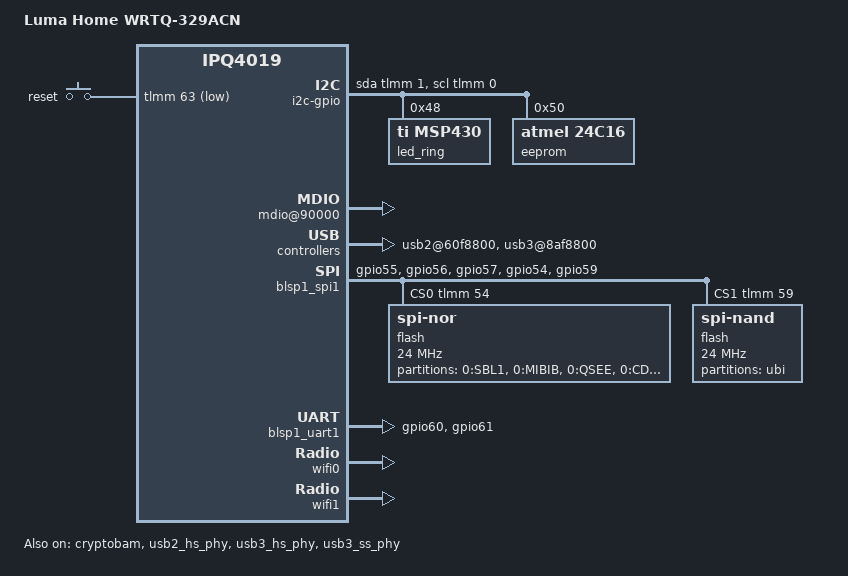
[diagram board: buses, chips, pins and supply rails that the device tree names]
// SPDX-License-Identifier: GPL-2.0-or-later OR MIT

#include "qcom-ipq4019.dtsi"
#include <dt-bindings/gpio/gpio.h>
#include <dt-bindings/input/input.h>
#include <dt-bindings/soc/qcom,tcsr.h>

/ {
	model = "Luma Home WRTQ-329ACN";
	compatible = "luma,wrtq-329acn";

	aliases {
		ethernet0 = &gmac1;
		ethernet1 = &gmac0;
	};

	i2c-gpio {
		compatible = "i2c-gpio";
		sda-gpios = <&tlmm 1 (GPIO_ACTIVE_HIGH|GPIO_OPEN_DRAIN)>;
		scl-gpios = <&tlmm 0 (GPIO_ACTIVE_HIGH|GPIO_OPEN_DRAIN)>;
		#address-cells = <1>;
		#size-cells = <0>;

		/* No driver exists */
		led_ring@48 {
			compatible = "ti,msp430";
			reg = <0x48>;
		};

		eeprom@50 {
			compatible = "atmel,24c16";
			reg = <0x50>;
			pagesize = <16>;
			read-only;
		};
	};

	keys {
		compatible = "gpio-keys";

		reset {
			label = "reset";
			gpios = <&tlmm 63 GPIO_ACTIVE_LOW>;
			linux,code = <KEY_RESTART>;
		};
	};

	soc {
		rng@22000 {
			status = "okay";
		};

		mdio@90000 {
			status = "okay";

			/delete-node/ ethernet-phy@0;
			/delete-node/ ethernet-phy@1;
			/delete-node/ ethernet-phy@3;
		};

		ess-psgmii@98000 {
			status = "okay";
		};

		tcsr@1949000 {
			compatible = "qcom,tcsr";
			reg = <0x1949000 0x100>;
			qcom,wifi_glb_cfg = <TCSR_WIFI_GLB_CFG>;
		};

		tcsr@194b000 {
			compatible = "qcom,tcsr";
			reg = <0x194b000 0x100>;
			qcom,usb-hsphy-mode-select = <TCSR_USB_HSPHY_HOST_MODE>;
		};

		ess_tcsr@1953000 {
			compatible = "qcom,tcsr";
			reg = <0x1953000 0x1000>;
			qcom,ess-interface-select = <TCSR_ESS_PSGMII>;
		};

		tcsr@1957000 {
			compatible = "qcom,tcsr";
			reg = <0x1957000 0x100>;
			qcom,wifi_noc_memtype_m0_m2 = <TCSR_WIFI_NOC_MEMTYPE_M0_M2>;
		};

		usb2@60f8800 {
			status = "okay";
		};

		usb3@8af8800 {
			status = "okay";
		};

		crypto@8e3a000 {
			status = "okay";
		};

		watchdog@b017000 {
			status = "okay";
		};

		ess-switch@c000000 {
			status = "okay";

			switch_lan_bmp = <0x1e>;
			switch_wan_bmp = <0x20>;
		};

		edma@c080000 {
			status = "okay";
		};
	};
};

&blsp_dma {
	status = "okay";
};


&blsp1_spi1 {
	status = "okay";

	cs-gpios = <&tlmm 54 GPIO_ACTIVE_HIGH>,
		   <&tlmm 59 GPIO_ACTIVE_HIGH>;
	pinctrl-0 = <&spi0_pins>;
	pinctrl-names = "default";

	flash@0 {
		compatible = "jedec,spi-nor";
		reg = <0>;
		spi-max-frequency = <24000000>;

		partitions {
			compatible = "fixed-partitions";
			#address-cells = <1>;
			#size-cells = <1>;

			partition@0 {
				label = "0:SBL1";
				reg = <0x000000 0x040000>;
				read-only;
			};

			partition@40000 {
				label = "0:MIBIB";
				reg = <0x040000 0x020000>;
				read-only;
			};

			partition@60000 {
				label = "0:QSEE";
				reg = <0x060000 0x060000>;
				read-only;
			};

			partition@c0000 {
				label = "0:CDT";
				reg = <0x0c0000 0x010000>;
				read-only;
			};

			partition@d0000 {
				label = "0:DDRPARAMS";
				reg = <0x0d0000 0x010000>;
				read-only;
			};

			partition@e0000 {
				label = "0:APPSBLENV";
				reg = <0x0e0000 0x010000>;
			};

			partition@f0000 {
				label = "0:APPSBL";
				reg = <0x0f0000 0x080000>;
				read-only;
			};

			partition@170000 {
				label = "0:ART";
				reg = <0x170000 0x010000>;
				read-only;
				compatible = "nvmem-cells";
				#address-cells = <1>;
				#size-cells = <1>;

				precal_art_1000: precal@1000 {
					reg = <0x1000 0x2f20>;
				};

				precal_art_5000: precal@5000 {
					reg = <0x5000 0x2f20>;
				};
			};
		};
	};

	flash@1 {
		status = "okay";

		compatible = "spi-nand";
		reg = <1>;
		spi-max-frequency = <24000000>;

		partitions {
			compatible = "fixed-partitions";
			#address-cells = <1>;
			#size-cells = <1>;

			partition@0 {
				label = "ubi";
				reg = <0x0000000 0x8000000>;
			};
		};
	};
};

&blsp1_uart1 {
	status = "okay";

	pinctrl-0 = <&serial0_pins>;
	pinctrl-names = "default";
};

&cryptobam {
	status = "okay";
};

&gmac0 {
	qcom,phy_mdio_addr = <2>;
	qcom,poll_required = <1>;
};

&gmac1 {
	qcom,phy_mdio_addr = <4>;
	qcom,poll_required = <1>;
};

&tlmm {
	serial0_pins: serial0_pinmux {
		mux {
			function = "blsp_uart0";
			pins = "gpio60", "gpio61";
			bias-disable;
		};
	};

	spi0_pins: spi0_pinmux {
		mux {
			function = "blsp_spi0";
			pins = "gpio55", "gpio56", "gpio57";
			bias-disable;
			drive-strength = <12>;
		};

		mux_cs {
			function = "gpio";
			pins = "gpio54", "gpio59";
			bias-disable;
			drive-strength = <2>;
			output-high;
		};
	};
};

&usb2_hs_phy {
	status = "okay";
};

&usb3_hs_phy {
	status = "okay";
};

&usb3_ss_phy {
	status = "okay";
};

&wifi0 {
	status = "okay";
	nvmem-cell-names = "pre-calibration";
	nvmem-cells = <&precal_art_1000>;
	qcom,ath10k-calibration-variant = "Luma-WRTQ-329ACN";
};

&wifi1 {
	status = "okay";
	nvmem-cell-names = "pre-calibration";
	nvmem-cells = <&precal_art_5000>;
	qcom,ath10k-calibration-variant = "Luma-WRTQ-329ACN";
};
